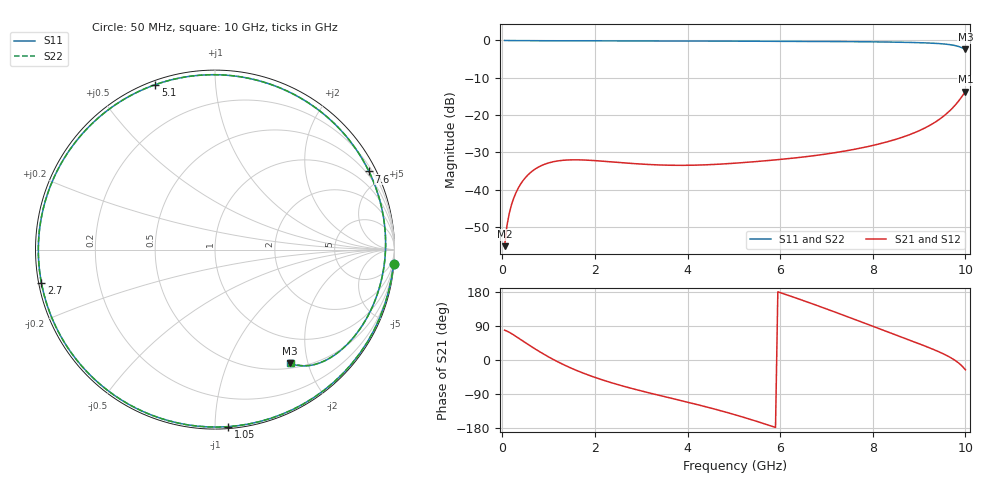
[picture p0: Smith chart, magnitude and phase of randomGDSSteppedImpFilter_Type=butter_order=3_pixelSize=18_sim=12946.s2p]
! freq	dB(S11)	phase(S11)	dB(S12)	phase(S12)
!  dB(S21)	phase(S21)	dB(S22)	phase(S22)
!S-par simulation data
#  GHz  S  DB  R 50
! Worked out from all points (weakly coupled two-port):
!   200 points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, 50 MHz to 10 GHz, reference 50 ohm
!   highest |S21| = -13.70 dB at 10 GHz (marker M1); lowest = -55.1 dB at 50 MHz (marker M2)
!   lowest |S11| = -2.4 dB at 10 GHz (marker M3), VSWR 7.24, Z = 28.9 - j85.6 ohm
!   |S11| at or under -10 dB: nowhere
!   |S22| runs from -2.4 to 0.0 dB; largest |S21 - S12| = 0
!   S11 on the Smith chart (normalised r, x): 50 MHz: 0, -25; 1.05 GHz: 0.01, -1.08; 2.7 GHz: 0.01, -0.10; 5.1 GHz: 0.02, +0.70; 7.6 GHz: 0.36, +4.15; 10 GHz: 0.58, -1.71
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0.05  -0.01 -4.7  -55.09 78.8  -55.09 78.8  -0.01 -4.7
0.1  -0.03 -9.2  -49.64 76.2  -49.64 76.2  -0.03 -9.2
0.15  -0.04 -13.7  -46.33 73.2  -46.33 73.2  -0.04 -13.7
0.25  -0.06 -22.5  -42.12 65.8  -42.12 65.8  -0.05 -22.5
0.35  -0.06 -31.2  -39.41 57.8  -39.41 57.8  -0.06 -31.2
0.7  -0.08 -60.1  -34.52 29.9  -34.52 29.9  -0.08 -60.1
1.05  -0.09 -85.8  -32.63 4.8  -32.63 4.8  -0.09 -85.7
1.35  -0.11 -105.0  -32.06 -13.8  -32.06 -13.8  -0.11 -105.0
1.75  -0.12 -127.2  -32.01 -34.7  -32.01 -34.7  -0.12 -127.1
2.2  -0.13 -148.5  -32.36 -54.0  -32.36 -54.0  -0.13 -148.5
2.7  -0.13 -169.1  -32.85 -72.0  -32.85 -72.0  -0.13 -169.0
3.4  -0.14 165.5  -33.35 -93.6  -33.35 -93.6  -0.14 165.6
4.25  -0.17 137.3  -33.37 -118.9  -33.37 -118.9  -0.17 137.4
5.05  -0.20 111.5  -32.85 -145.4  -32.85 -145.4  -0.20 111.6
5.1  -0.20 109.9  -32.80 -147.2  -32.80 -147.2  -0.20 110.0
5.9  -0.23 83.9  -31.98 -178.0  -31.98 -178.0  -0.23 84.0
6.7  -0.27 57.3  -30.91 148.1  -30.91 148.1  -0.27 57.5
7.6  -0.34 26.9  -29.16 107.6  -29.16 107.6  -0.34 27.1
8.35  -0.44 1.6  -27.02 73.0  -27.02 73.0  -0.44 1.8
9.25  -0.72 -28.8  -22.62 30.8  -22.62 30.8  -0.72 -28.6
9.7  -1.20 -45.3  -18.38 4.9  -18.38 4.9  -1.19 -45.1
10  -2.41 -56.5  -13.70 -25.9  -13.70 -25.9  -2.37 -56.1
